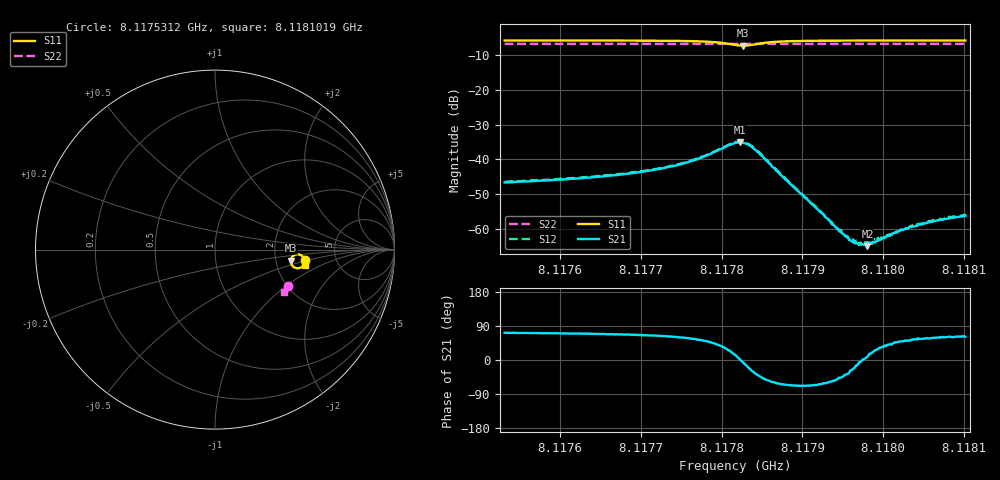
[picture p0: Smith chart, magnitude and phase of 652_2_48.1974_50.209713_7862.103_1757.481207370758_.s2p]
#  HZ  S  RI  R  50.00
! Rohde & Schwarz Vector Network Analyzer
! Rohde-Schwarz,ZNB20-2Port,1311601062101988,3.16
! Created: UTC 3/20/2024, 12:05:16 PM
! freq[Hz]  re:S11  im:S11  re:S21  im:S21  re:S12  im:S12  re:S22  im:S22
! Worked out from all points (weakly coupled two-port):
!   401 points, 8.1175312 GHz to 8.1181019 GHz, reference 50 ohm
!   highest |S21| = -35.08 dB at 8.1178223 GHz (marker M1); lowest = -64.8 dB at 8.1179806 GHz (marker M2)
!   lowest |S11| = -7.4 dB at 8.1178266 GHz (marker M3), VSWR 2.49, Z = 121 - j18 ohm
!   |S11| at or under -10 dB: nowhere
!   |S22| runs from -6.9 to -6.9 dB; largest |S21 - S12| = 0.00072
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8.1175312e9  0.5035 -0.0573  0.00146 0.00446  0.00156 0.00455  0.4046 -0.2032
8.1176268e9  0.5014 -0.0676  0.00188 0.00506  0.00197 0.00519  0.4016 -0.2095
8.11767816e9  0.4992 -0.0746  0.00239 0.00568  0.00243 0.00578  0.3998 -0.2129
8.11772239e9  0.4955 -0.0827  0.00325 0.00656  0.00332 0.00669  0.3984 -0.2159
8.11776805e9  0.4845 -0.0955  0.00572 0.00823  0.00588 0.00833  0.3964 -0.2189
8.11781656e9  0.4289 -0.0875  0.0168 0.004  0.0171 0.00416  0.3927 -0.2209
8.11782227e9  0.4226 -0.0734  0.0176 0.000647  0.018 0.000812  0.3926 -0.2205
8.11782655e9  0.422 -0.0609  0.0172 -0.0019  0.0177 -0.00205  0.3925 -0.2203
8.11783369e9  0.4296 -0.0414  0.015 -0.00587  0.0156 -0.00595  0.3927 -0.2199
8.11784367e9  0.4501 -0.0276  0.0103 -0.00816  0.0105 -0.00834  0.3935 -0.2203
8.11786936e9  0.4853 -0.0349  0.00316 -0.00587  0.00323 -0.00603  0.3941 -0.2224
8.11791216e9  0.4981 -0.0542  0.000887 -0.00206  0.000903 -0.00215  0.3932 -0.2259
8.11795639e9  0.5004 -0.0651  0.000603 -0.000444  0.000657 -0.00044  0.3916 -0.2292
8.11796781e9  0.5005 -0.0673  0.000608 -0.000155  0.000587 -0.00019  0.3914 -0.2296
8.11797351e9  0.5006 -0.0683  0.000611 -1.61e-05  0.000603 -3.79e-05  0.3911 -0.2301
8.11798065e9  0.5006 -0.0694  0.000567 8.37e-05  0.000651 0.000116  0.391 -0.2306
8.11798493e9  0.5005 -0.0701  0.000588 0.000179  0.000606 0.000174  0.3906 -0.2308
8.11799064e9  0.5007 -0.071  0.00059 0.000293  0.000644 0.000286  0.3906 -0.2313
8.11800776e9  0.5006 -0.0734  0.000609 0.000528  0.000622 0.000577  0.3901 -0.2324
8.1180363e9  0.5003 -0.0771  0.000632 0.000888  0.000677 0.000919  0.3891 -0.2341
8.11805912e9  0.5001 -0.0797  0.000693 0.0011  0.000681 0.00109  0.3882 -0.2357
8.11810193e9  0.4995 -0.0845  0.000745 0.00137  0.000739 0.00141  0.3867 -0.2384
